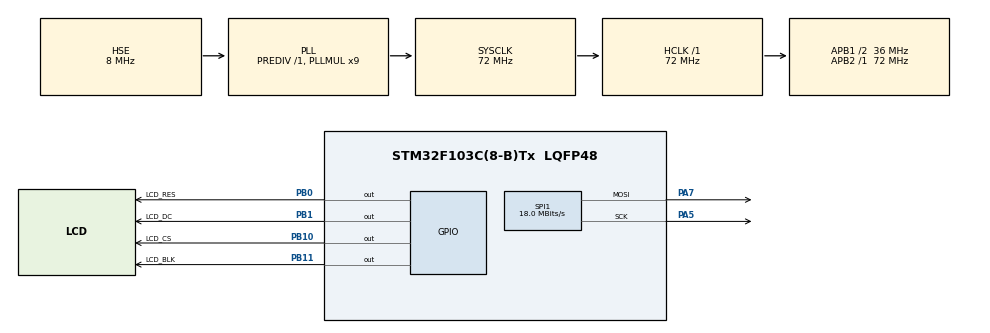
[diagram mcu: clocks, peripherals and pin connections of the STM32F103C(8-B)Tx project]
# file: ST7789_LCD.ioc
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Dma.Request0=SPI1_TX
Dma.SPI1_TX.0.Direction=DMA_MEMORY_TO_PERIPH
Dma.SPI1_TX.0.Instance=DMA1_Channel3
Dma.SPI1_TX.0.MemDataAlignment=DMA_MDATAALIGN_BYTE
Dma.SPI1_TX.0.MemInc=DMA_MINC_ENABLE
Dma.SPI1_TX.0.Mode=DMA_NORMAL
Dma.SPI1_TX.0.PeriphDataAlignment=DMA_PDATAALIGN_BYTE
Dma.SPI1_TX.0.PeriphInc=DMA_PINC_DISABLE
Dma.SPI1_TX.0.Priority=DMA_PRIORITY_LOW
Mcu.Family=STM32F1
Mcu.Name=STM32F103C(8-B)Tx
Mcu.Package=LQFP48
NVIC.DMA1_Channel3_IRQn=true\:0\:0\:false\:false\:true\:false\:true\:true
NVIC.PriorityGroup=NVIC_PRIORITYGROUP_4
NVIC.SPI1_IRQn=true\:0\:0\:false\:false\:true\:true\:true\:true
PA13.Mode=Serial_Wire
PA13.Signal=SYS_JTMS-SWDIO
PA14.Mode=Serial_Wire
PA14.Signal=SYS_JTCK-SWCLK
PA5.Mode=TX_Only_Simplex_Unidirect_Master
PA5.Signal=SPI1_SCK
PA7.Mode=TX_Only_Simplex_Unidirect_Master
PA7.Signal=SPI1_MOSI
PB0.GPIO_Label=LCD_RES
PB0.GPIO_Speed=GPIO_SPEED_FREQ_HIGH
PB0.PinState=GPIO_PIN_SET
PB0.Signal=GPIO_Output
PB1.GPIO_Label=LCD_DC
PB1.GPIO_Speed=GPIO_SPEED_FREQ_HIGH
PB1.PinState=GPIO_PIN_SET
PB1.Signal=GPIO_Output
PB10.GPIO_Label=LCD_CS
PB10.GPIO_Speed=GPIO_SPEED_FREQ_HIGH
PB10.PinState=GPIO_PIN_SET
PB10.Signal=GPIO_Output
PB11.GPIO_Label=LCD_BLK
PB11.GPIO_Speed=GPIO_SPEED_FREQ_HIGH
PB11.PinState=GPIO_PIN_SET
PB11.Signal=GPIO_Output
PD0-OSC_IN.Mode=HSE-External-Oscillator
PD0-OSC_IN.Signal=RCC_OSC_IN
PD1-OSC_OUT.Mode=HSE-External-Oscillator
PD1-OSC_OUT.Signal=RCC_OSC_OUT
ProjectManager.HeapSize=0x200
ProjectManager.StackSize=0x400
ProjectManager.TargetToolchain=MDK-ARM V5.32
RCC.AHBFreq_Value=72000000
RCC.APB1CLKDivider=RCC_HCLK_DIV2
RCC.APB1Freq_Value=36000000
RCC.APB1TimFreq_Value=72000000
RCC.APB2Freq_Value=72000000
RCC.APB2TimFreq_Value=72000000
RCC.HCLKFreq_Value=72000000
RCC.PLLMUL=RCC_PLL_MUL9
RCC.PLLSourceVirtual=RCC_PLLSOURCE_HSE
RCC.SYSCLKFreq_VALUE=72000000
RCC.SYSCLKSource=RCC_SYSCLKSOURCE_PLLCLK
RCC.USBFreq_Value=72000000
SPI1.BaudRatePrescaler=SPI_BAUDRATEPRESCALER_4
SPI1.CalculateBaudRate=18.0 MBits/s
SPI1.Direction=SPI_DIRECTION_2LINES
SPI1.Mode=SPI_MODE_MASTER
SPI1.VirtualType=VM_MASTER
board=custom

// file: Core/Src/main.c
/* USER CODE BEGIN Header */
/**
  ******************************************************************************
  * @file           : main.c
  * @brief          : Main program body
  ******************************************************************************
  * @attention
  *
  * Copyright (c) 2025 STMicroelectronics.
  * All rights reserved.
  *
  * This software is licensed under terms that can be found in the LICENSE file
  * in the root directory of this software component.
  * If no LICENSE file comes with this software, it is provided AS-IS.
  *
  ******************************************************************************
  */
/* USER CODE END Header */
#include "main.h"
#include "dma.h"
#include "spi.h"
#include "gpio.h"

/* USER CODE BEGIN Includes */
#include "lcd_driver.h"
#include "lcd.h"
/* USER CODE END Includes */

void SystemClock_Config(void);

int main(void)
{

  /* MCU Configuration--------------------------------------------------------*/

  /* Reset of all peripherals, Initializes the Flash interface and the Systick. */
  HAL_Init();

  /* Configure the system clock */
  SystemClock_Config();

  /* Initialize all configured peripherals */
  MX_GPIO_Init();
  MX_DMA_Init();
  MX_SPI1_Init();
  /* USER CODE BEGIN 2 */
  LCD_Init();
  LCD_Fill(0,0,240 - 1,280 - 1,GRAY);
  LCD_Fill(80, 80, 160, 160, WHITE);
  /* USER CODE END 2 */

  /* Infinite loop */
  /* USER CODE BEGIN WHILE */
  while (1)
  {
	  LCD_Fill(0, 0, 239, 279, WHITE);
//	  HAL_Delay(100);
	  LCD_Fill(0, 0, 239, 279, BLACK);
//	  HAL_Delay(100);
	  LCD_Fill(0, 0, 239, 279, BLUE);
//	  HAL_Delay(100);
	  LCD_Fill(0, 0, 239, 279, BRED);
//	  HAL_Delay(100);
	  LCD_Fill(0, 0, 239, 279, GRED);
//	  HAL_Delay(100);
	  LCD_Fill(0, 0, 239, 279, GBLUE);
//	  HAL_Delay(100);
	  LCD_Fill(0, 0, 239, 279, RED);
//	  HAL_Delay(100);
	  LCD_Fill(0, 0, 239, 279, MAGENTA);
//	  HAL_Delay(100);
	  LCD_Fill(0, 0, 239, 279, GREEN);
//	  HAL_Delay(100);
	  LCD_Fill(0, 0, 239, 279, CYAN);
//	  HAL_Delay(100);
	  LCD_Fill(0, 0, 239, 279, YELLOW);
//	  HAL_Delay(100);
	  LCD_Fill(0, 0, 239, 279, BROWN);
//	  HAL_Delay(100);
	  LCD_Fill(0, 0, 239, 279, BRRED);
//	  HAL_Delay(100);
	  LCD_Fill(0, 0, 239, 279, GRAY);
//	  HAL_Delay(100);
	  LCD_Fill(0, 0, 239, 279, DARKBLUE);
//	  HAL_Delay(100);
	  LCD_Fill(0, 0, 239, 279, LIGHTBLUE);
//	  HAL_Delay(100);
	  LCD_Fill(0, 0, 239, 279, GRAYBLUE);
//	  HAL_Delay(100);
	  LCD_Fill(0, 0, 239, 279, LIGHTGREEN);
//	  HAL_Delay(100);
	  LCD_Fill(0, 0, 239, 279, LGRAYBLUE);
//	  HAL_Delay(100);
	  LCD_Fill(0, 0, 239, 279, LBBLUE);
//	  HAL_Delay(100);
    /* USER CODE END WHILE */

  }
}

void SystemClock_Config(void)
{
  RCC_OscInitTypeDef RCC_OscInitStruct = {0};
  RCC_ClkInitTypeDef RCC_ClkInitStruct = {0};

  /** Initializes the RCC Oscillators according to the specified parameters
  * in the RCC_OscInitTypeDef structure.
  */
  RCC_OscInitStruct.OscillatorType = RCC_OSCILLATORTYPE_HSE;
  RCC_OscInitStruct.HSEState = RCC_HSE_ON;
  RCC_OscInitStruct.HSEPredivValue = RCC_HSE_PREDIV_DIV1;
  RCC_OscInitStruct.HSIState = RCC_HSI_ON;
  RCC_OscInitStruct.PLL.PLLState = RCC_PLL_ON;
  RCC_OscInitStruct.PLL.PLLSource = RCC_PLLSOURCE_HSE;
  RCC_OscInitStruct.PLL.PLLMUL = RCC_PLL_MUL9;
  if (HAL_RCC_OscConfig(&RCC_OscInitStruct) != HAL_OK)
  {
    Error_Handler();
  }

  /** Initializes the CPU, AHB and APB buses clocks
  */
  RCC_ClkInitStruct.ClockType = RCC_CLOCKTYPE_HCLK|RCC_CLOCKTYPE_SYSCLK
                              |RCC_CLOCKTYPE_PCLK1|RCC_CLOCKTYPE_PCLK2;
  RCC_ClkInitStruct.SYSCLKSource = RCC_SYSCLKSOURCE_PLLCLK;
  RCC_ClkInitStruct.AHBCLKDivider = RCC_SYSCLK_DIV1;
  RCC_ClkInitStruct.APB1CLKDivider = RCC_HCLK_DIV2;
  RCC_ClkInitStruct.APB2CLKDivider = RCC_HCLK_DIV1;

  if (HAL_RCC_ClockConfig(&RCC_ClkInitStruct, FLASH_LATENCY_2) != HAL_OK)
  {
    Error_Handler();
  }
}

void Error_Handler(void)
{
  __disable_irq();
  while (1)
  {
  }
}
